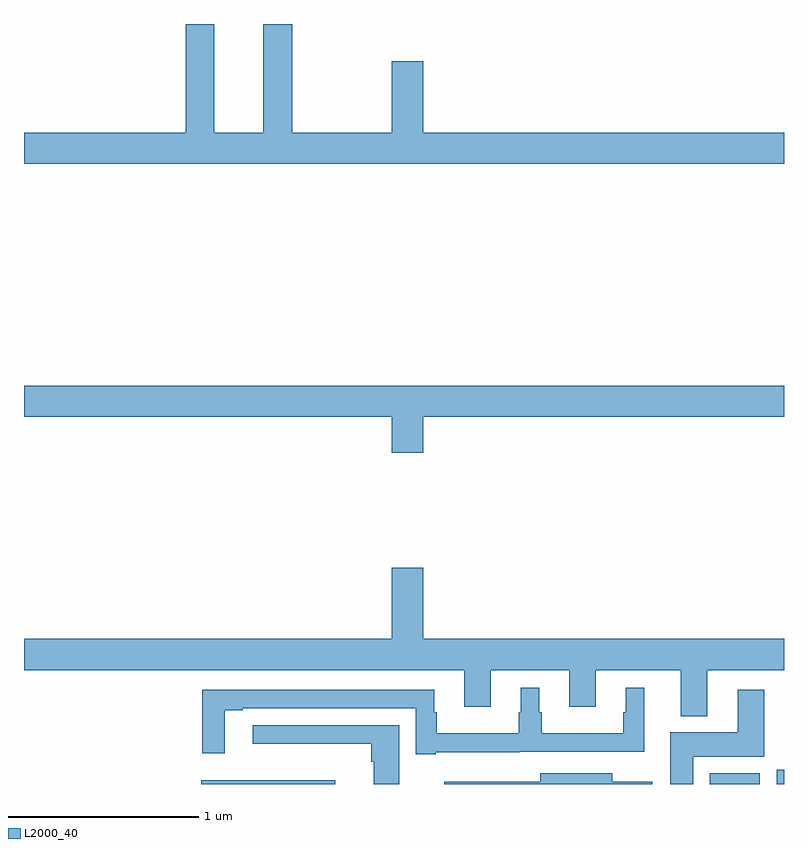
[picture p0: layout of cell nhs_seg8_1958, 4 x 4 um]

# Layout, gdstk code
import gdstk
lib = gdstk.Library(unit=1e-6, precision=1e-09)
def R(c, l, rs):  # rectangles x0, y0, x1, y1
    for r in rs: c.add(gdstk.rectangle(r[:2], r[2:], *l))
def P(c, l, *ps):  # polygons
    for p in ps: c.add(gdstk.Polygon(p, *l))
L2000_40 = (2000, 40)

nhs_seg8_1958 = lib.new_cell('nhs_seg8_1958')
R(nhs_seg8_1958, L2000_40, [(235.934,1115.9,236.638,1115.92), (238.61,1115.9,238.873,1115.956), (238.961,1115.9,239,1115.974)])
P(nhs_seg8_1958, L2000_40, [(239,1119.328),(237.1,1119.328),(237.1,1119.703),(236.936,1119.703),(236.936,1119.328),(236.411,1119.328),(236.411,1119.9),(236.258,1119.9),(236.258,1119.328),(236.002,1119.328),(236.002,1119.9),(235.85,1119.9),(235.85,1119.328),(235,1119.328),(235,1119.164),(239,1119.164)],
  [(237.1,1117.832),(239,1117.832),(239,1117.996),(235,1117.996),(235,1117.832),(236.936,1117.832),(236.936,1117.644),(237.1,1117.644)],
  [(238.597,1116.5),(239,1116.5),(239,1116.664),(237.1,1116.664),(237.1,1117.039),(236.936,1117.039),(236.936,1116.664),(235,1116.664),(235,1116.5),(237.317,1116.5),(237.317,1116.306),(237.457,1116.306),(237.457,1116.5),(237.869,1116.5),(237.869,1116.306),(238.009,1116.306),(238.009,1116.5),(238.457,1116.5),(238.457,1116.257),(238.597,1116.257)],
  [(237.166,1116.068),(237.608,1116.068),(237.608,1116.069),(238.264,1116.069),(238.264,1116.406),(238.166,1116.406),(238.166,1116.278),(238.155,1116.278),(238.155,1116.166),(237.724,1116.166),(237.724,1116.278),(237.712,1116.278),(237.712,1116.406),(237.614,1116.406),(237.614,1116.278),(237.603,1116.278),(237.603,1116.166),(237.172,1116.166),(237.172,1116.278),(237.16,1116.278),(237.16,1116.396),(235.939,1116.396),(235.939,1116.063),(236.056,1116.063),(236.056,1116.288),(236.152,1116.288),(236.152,1116.3),(237.063,1116.3),(237.063,1116.057),(237.166,1116.057)],
  [(238.522,1116.044),(238.897,1116.044),(238.897,1116.397),(238.757,1116.397),(238.757,1116.172),(238.4,1116.172),(238.4,1115.9),(238.522,1115.9)],
  [(236.974,1116.21),(236.205,1116.21),(236.205,1116.113),(236.828,1116.113),(236.828,1116.017),(236.84,1116.017),(236.84,1115.9),(236.974,1115.9)],
  [(238.306,1115.911),(238.096,1115.911),(238.096,1115.956),(237.716,1115.956),(237.716,1115.911),(237.213,1115.911),(237.213,1115.9),(238.306,1115.9)])

lib.write_gds('nhs_seg8_1958.gds')
